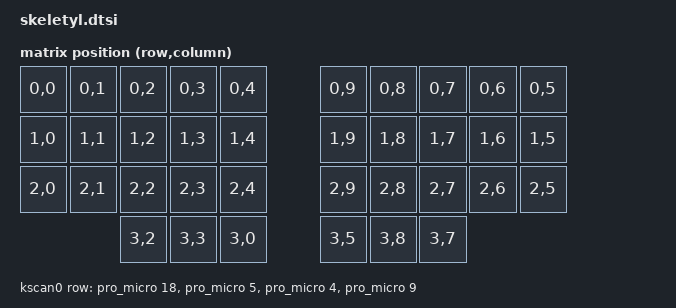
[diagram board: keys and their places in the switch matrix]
#include <dt-bindings/zmk/matrix_transform.h>
#include "skeletyl-layouts.dtsi"

/ {
    chosen {
        zmk,physical-layout = &skeletyl_layout;
    };

	default_transform: keymap_transform_0 {
		compatible = "zmk,matrix-transform";
		columns = <10>;
		rows = <4>;
// Rows starts from R2 which translated to R0 (-2)                  Rows starts from R2 which translated to R0 (-2)
// Columns starts from C2 which translated to C0 (-2)               Columns starts from C2 which translated to C5 (+3) going right to left
// Format kRC
// | k00  | k01  | k02  | k03  | k04  |                             | k09  | k08  | k07  | k06  | k05  |
// | k10  | k11  | k12  | k13  | k14  |                             | k19  | k18  | k17  | k16  | k15  |
// | k20  | k21  | k22  | k23  | k24  |                             | k29  | k28  | k27  | k26  | k25  |
// Rows starts from R4 which is actually R5 translated to R3 (-2)   Rows starts from R4 which is actually R5 translated to R3 (-2)
//               | k32  | k33  | k30  |                             | k35  | k38  | k37  |
		map = <
            RC(0,0) RC(0,1) RC(0,2) RC(0,3) RC(0,4)                             RC(0,9)  RC(0,8) RC(0,7) RC(0,6) RC(0,5)
            RC(1,0) RC(1,1) RC(1,2) RC(1,3) RC(1,4)                             RC(1,9)  RC(1,8) RC(1,7) RC(1,6) RC(1,5)
            RC(2,0) RC(2,1) RC(2,2) RC(2,3) RC(2,4)                             RC(2,9)  RC(2,8) RC(2,7) RC(2,6) RC(2,5)
                            RC(3,2) RC(3,3) RC(3,0)                             RC(3,5)  RC(3,8) RC(3,7)
		>;
	};

	kscan0: kscan0 {
            compatible = "zmk,kscan-gpio-matrix";
            diode-direction = "row2col";
            wakeup-source;

            row-gpios
                = <&pro_micro 18 GPIO_ACTIVE_HIGH>
                , <&pro_micro  5 GPIO_ACTIVE_HIGH>
                , <&pro_micro  4 GPIO_ACTIVE_HIGH>
                , <&pro_micro  9 GPIO_ACTIVE_HIGH>
                ;

    };
};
